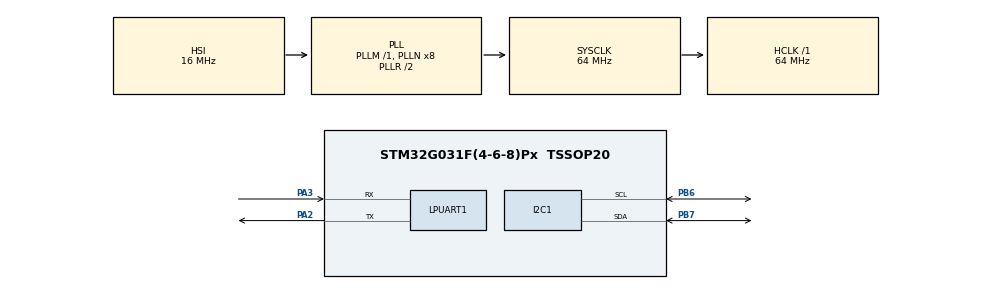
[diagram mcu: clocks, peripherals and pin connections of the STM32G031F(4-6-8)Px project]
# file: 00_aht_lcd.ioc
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Dma.LPUART1_RX.0.Direction=DMA_PERIPH_TO_MEMORY
Dma.LPUART1_RX.0.EventEnable=DISABLE
Dma.LPUART1_RX.0.Instance=DMA1_Channel3
Dma.LPUART1_RX.0.MemDataAlignment=DMA_MDATAALIGN_BYTE
Dma.LPUART1_RX.0.MemInc=DMA_MINC_ENABLE
Dma.LPUART1_RX.0.Mode=DMA_CIRCULAR
Dma.LPUART1_RX.0.PeriphDataAlignment=DMA_PDATAALIGN_BYTE
Dma.LPUART1_RX.0.PeriphInc=DMA_PINC_DISABLE
Dma.LPUART1_RX.0.Polarity=HAL_DMAMUX_REQ_GEN_RISING
Dma.LPUART1_RX.0.Priority=DMA_PRIORITY_LOW
Dma.LPUART1_RX.0.RequestNumber=1
Dma.LPUART1_RX.0.SignalID=NONE
Dma.LPUART1_RX.0.SyncEnable=DISABLE
Dma.LPUART1_RX.0.SyncPolarity=HAL_DMAMUX_SYNC_NO_EVENT
Dma.LPUART1_RX.0.SyncRequestNumber=1
Dma.LPUART1_RX.0.SyncSignalID=NONE
Dma.LPUART1_TX.1.Direction=DMA_MEMORY_TO_PERIPH
Dma.LPUART1_TX.1.EventEnable=DISABLE
Dma.LPUART1_TX.1.Instance=DMA1_Channel4
Dma.LPUART1_TX.1.MemDataAlignment=DMA_MDATAALIGN_BYTE
Dma.LPUART1_TX.1.MemInc=DMA_MINC_ENABLE
Dma.LPUART1_TX.1.Mode=DMA_NORMAL
Dma.LPUART1_TX.1.PeriphDataAlignment=DMA_PDATAALIGN_BYTE
Dma.LPUART1_TX.1.PeriphInc=DMA_PINC_DISABLE
Dma.LPUART1_TX.1.Polarity=HAL_DMAMUX_REQ_GEN_RISING
Dma.LPUART1_TX.1.Priority=DMA_PRIORITY_LOW
Dma.LPUART1_TX.1.RequestNumber=1
Dma.LPUART1_TX.1.SignalID=NONE
Dma.LPUART1_TX.1.SyncEnable=DISABLE
Dma.LPUART1_TX.1.SyncPolarity=HAL_DMAMUX_SYNC_NO_EVENT
Dma.LPUART1_TX.1.SyncRequestNumber=1
Dma.LPUART1_TX.1.SyncSignalID=NONE
Dma.Request0=LPUART1_RX
Dma.Request1=LPUART1_TX
I2C1.Timing=0x10B17DB5
Mcu.Family=STM32G0
Mcu.Name=STM32G031F(4-6-8)Px
Mcu.Package=TSSOP20
NVIC.DMA1_Ch4_5_DMAMUX1_OVR_IRQn=true\:0\:0\:false\:false\:true\:false\:true\:true
NVIC.DMA1_Channel2_3_IRQn=true\:0\:0\:false\:false\:true\:false\:true\:true
NVIC.I2C1_IRQn=true\:0\:0\:false\:false\:true\:true\:true\:true
NVIC.LPUART1_IRQn=true\:0\:0\:false\:false\:true\:true\:true\:true
NVIC.RTC_TAMP_IRQn=true\:0\:0\:false\:false\:true\:true\:true\:true
PA13.Mode=Serial_Wire
PA13.Signal=SYS_SWDIO
PA14-BOOT0.Mode=Serial_Wire
PA14-BOOT0.Signal=SYS_SWCLK
PA14-BOOT0__PA15.StandardMode=true
PA2.Mode=Asynchronous
PA2.Signal=LPUART1_TX
PA3.Mode=Asynchronous
PA3.Signal=LPUART1_RX
PB0__PB1__PB2__PA8.StandardMode=true
PB3__PB4__PB5__PB6.StandardMode=true
PB6.Mode=I2C
PB6.Signal=I2C1_SCL
PB7.Mode=I2C
PB7.Signal=I2C1_SDA
PB7__PB8.StandardMode=true
PC14-OSC32_IN\ (PC14).Mode=LSE-External-Oscillator
PC14-OSC32_IN\ (PC14).Signal=RCC_OSC32_IN
PC14-OSC32_IN\ (PC14)__PB9.StandardMode=true
PC15-OSC32_OUT\ (PC15).Mode=LSE-External-Oscillator
PC15-OSC32_OUT\ (PC15).Signal=RCC_OSC32_OUT
ProjectManager.HeapSize=0x200
ProjectManager.StackSize=0x400
ProjectManager.TargetToolchain=STM32CubeIDE
RCC.ADCFreq_Value=64000000
RCC.AHBFreq_Value=64000000
RCC.CortexFreq_Value=64000000
RCC.EXTERNAL_CLOCK_VALUE=12288000
RCC.HCLKFreq_Value=64000000
RCC.HSE_VALUE=8000000
RCC.HSI_VALUE=16000000
RCC.RTCClockSelection=RCC_RTCCLKSOURCE_LSE
RCC.SYSCLKFreq_VALUE=64000000
RCC.SYSCLKSource=RCC_SYSCLKSOURCE_PLLCLK
RCC.VCOOutputFreq_Value=128000000
RTC.Date=17
RTC.Format=RTC_FORMAT_BIN
VP_RTC_VS_RTC_Activate.Mode=RTC_Enabled
VP_RTC_VS_RTC_Calendar.Mode=RTC_Calendar
VP_RTC_VS_RTC_WakeUp_intern.Mode=WakeUp
VP_SYS_VS_PINREMAP.Mode=PINREMAP
VP_SYS_VS_PINREMAP_10_12.Mode=PINREMAP_10_12
board=custom

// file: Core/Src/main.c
/* USER CODE BEGIN Header */
/**
  ******************************************************************************
  * @file           : main.c
  * @brief          : Main program body
  ******************************************************************************
  * @attention
  *
  * Copyright (c) 2026 STMicroelectronics.
  * All rights reserved.
  *
  * This software is licensed under terms that can be found in the LICENSE file
  * in the root directory of this software component.
  * If no LICENSE file comes with this software, it is provided AS-IS.
  *
  ******************************************************************************
  */
/* USER CODE END Header */
#include "main.h"

/* USER CODE BEGIN Includes */
#include "driver_aht30_interface.h"
#include "driver_ssd1315_interface.h"
#include "power_management.h"

#include "ringbuffer.h"
#include <string.h>
#include <stdio.h>
#include <stdlib.h>
/* USER CODE END Includes */

/* USER CODE BEGIN PM */
char readBuf[1];
uint8_t txData;
__IO ITStatus UartReady = SET;
RingBuffer txBuf, rxBuf;
/* USER CODE END PM */

I2C_HandleTypeDef hi2c1;

UART_HandleTypeDef hlpuart1;
DMA_HandleTypeDef hdma_lpuart1_rx;
DMA_HandleTypeDef hdma_lpuart1_tx;

RTC_HandleTypeDef hrtc;

/* USER CODE BEGIN PV */
static aht30_handle_t gs_handle;
static ssd1315_handle_t gs_lcd_handle;

/* Power mode selection - change this to adjust power consumption */
#define SELECTED_POWER_MODE  POWER_MODE_LOW_POWER

/* USER CODE END PV */

void SystemClock_Config(void);
static void MX_GPIO_Init(void);
static void MX_DMA_Init(void);
static void MX_RTC_Init(void);
static void MX_I2C1_Init(void);
static void MX_LPUART1_UART_Init(void);
/* USER CODE BEGIN PFP */
uint8_t UART_Transmit(UART_HandleTypeDef *lpuart, uint8_t *pData, uint16_t len);
void SystemClock_Config_AfterStop(void);
/* USER CODE END PFP */

int main(void)
{

  /* USER CODE BEGIN 1 */
    uint8_t res;
    uint32_t temperature_raw;
    uint32_t humidity_raw;
    float temperature;
    uint8_t humidity;
    aht30_info_t info;

    uint8_t lcd_res;
    ssd1315_info_t lcd_info;
  /* USER CODE END 1 */

  /* MCU Configuration--------------------------------------------------------*/

  /* Reset of all peripherals, Initializes the Flash interface and the Systick. */
  HAL_Init();

  /* Configure the system clock */
  SystemClock_Config();

  /* Initialize all configured peripherals */
  MX_GPIO_Init();
  MX_DMA_Init();
  MX_RTC_Init();
  MX_I2C1_Init();
  MX_LPUART1_UART_Init();
  /* USER CODE BEGIN 2 */
  /* Initialize power management */
  Power_Init(&hrtc);
  Power_SetMode(SELECTED_POWER_MODE);
  /* USER CODE END 2 */

  /* Infinite loop */
  /* USER CODE BEGIN WHILE */
  DRIVER_AHT30_LINK_INIT(&gs_handle, aht30_handle_t);
  DRIVER_AHT30_LINK_IIC_INIT(&gs_handle, aht30_interface_iic_init);
  DRIVER_AHT30_LINK_IIC_DEINIT(&gs_handle, aht30_interface_iic_deinit);
  DRIVER_AHT30_LINK_IIC_READ_CMD(&gs_handle, aht30_interface_iic_read_cmd);
  DRIVER_AHT30_LINK_IIC_WRITE_CMD(&gs_handle, aht30_interface_iic_write_cmd);
  DRIVER_AHT30_LINK_DELAY_MS(&gs_handle, aht30_interface_delay_ms);
  DRIVER_AHT30_LINK_DEBUG_PRINT(&gs_handle, aht30_interface_debug_print);

  /* get aht30 information */
  res = aht30_info(&info);
  if (res != 0)
  {
      aht30_interface_debug_print("aht30: get info failed.\n");

      return 1;
  }
  else
  {
      /* print aht30 information */
      aht30_interface_debug_print("aht30: chip is %s.\n", info.chip_name);
      aht30_interface_debug_print("aht30: manufacturer is %s.\n", info.manufacturer_name);
      aht30_interface_debug_print("aht30: interface is %s.\n", info.interface);
      aht30_interface_debug_print("aht30: driver version is %d.%d.\n", info.driver_version / 1000, (info.driver_version % 1000) / 100);
      aht30_interface_debug_print("aht30: min supply voltage is %0.1fV.\n", info.supply_voltage_min_v);
      aht30_interface_debug_print("aht30: max supply voltage is %0.1fV.\n", info.supply_voltage_max_v);
      aht30_interface_debug_print("aht30: max current is %0.2fmA.\n", info.max_current_ma);
      aht30_interface_debug_print("aht30: max temperature is %0.1fC.\n", info.temperature_max);
      aht30_interface_debug_print("aht30: min temperature is %0.1fC.\n", info.temperature_min);
  }

  /* start basic read test */
  aht30_interface_debug_print("aht30: start read test.\n");

  /* aht30 init */
  res = aht30_init(&gs_handle);
  if (res != 0)
  {
      aht30_interface_debug_print("aht30: init failed.\n");

      return 1;
  }

  /* delay 2000 ms for read */
  aht30_interface_delay_ms(2000);

  // LCD
  DRIVER_SSD1315_LINK_INIT(&gs_lcd_handle, ssd1315_handle_t);
  DRIVER_SSD1315_LINK_IIC_INIT(&gs_lcd_handle, ssd1315_interface_iic_init);
  DRIVER_SSD1315_LINK_IIC_DEINIT(&gs_lcd_handle, ssd1315_interface_iic_deinit);
  DRIVER_SSD1315_LINK_IIC_WRITE(&gs_lcd_handle, ssd1315_interface_iic_write);

  DRIVER_SSD1315_LINK_SPI_INIT(&gs_lcd_handle, ssd1315_interface_spi_init);
  DRIVER_SSD1315_LINK_SPI_DEINIT(&gs_lcd_handle, ssd1315_interface_spi_deinit);
  DRIVER_SSD1315_LINK_SPI_WRITE_COMMAND(&gs_lcd_handle, ssd1315_interface_spi_write_cmd);
  DRIVER_SSD1315_LINK_SPI_COMMAND_DATA_GPIO_INIT(&gs_lcd_handle, ssd1315_interface_spi_cmd_data_gpio_init);
  DRIVER_SSD1315_LINK_SPI_COMMAND_DATA_GPIO_DEINIT(&gs_lcd_handle, ssd1315_interface_spi_cmd_data_gpio_deinit);
  DRIVER_SSD1315_LINK_SPI_COMMAND_DATA_GPIO_WRITE(&gs_lcd_handle, ssd1315_interface_spi_cmd_data_gpio_write);

  DRIVER_SSD1315_LINK_RESET_GPIO_INIT(&gs_lcd_handle, ssd1315_interface_reset_gpio_init);
  DRIVER_SSD1315_LINK_RESET_GPIO_DEINIT(&gs_lcd_handle, ssd1315_interface_reset_gpio_deinit);
  DRIVER_SSD1315_LINK_RESET_GPIO_WRITE(&gs_lcd_handle, ssd1315_interface_reset_gpio_write);
  DRIVER_SSD1315_LINK_DELAY_MS(&gs_lcd_handle, ssd1315_interface_delay_ms);
  DRIVER_SSD1315_LINK_DEBUG_PRINT(&gs_lcd_handle, ssd1315_interface_debug_print);

  // Set I2C mode and address (0x78 for SA0=GND, 0x7A for SA0=VCC)
  ssd1315_set_interface(&gs_lcd_handle, SSD1315_INTERFACE_IIC);
  ssd1315_set_addr_pin(&gs_lcd_handle, SSD1315_ADDR_SA0_0);
  /* ssd1315 info */
  lcd_res = ssd1315_info(&lcd_info);
  if (lcd_res != 0)
  {
      ssd1315_interface_debug_print("ssd1315: get info failed.\n");

      return 1;
  }

  /* ssd1315 init */
  lcd_res = ssd1315_init(&gs_lcd_handle);
  if (lcd_res != 0)
  {
      ssd1315_interface_debug_print("ssd1315: init failed.\n");

      return 1;
  }

  /* close display */
  lcd_res = ssd1315_set_display(&gs_lcd_handle, SSD1315_DISPLAY_OFF);
  if (lcd_res != 0)
  {
      ssd1315_interface_debug_print("ssd1315: set display failed.\n");
      (void)ssd1315_deinit(&gs_lcd_handle);

      return 1;
  }

  /* set column address range */
  lcd_res = ssd1315_set_column_address_range(&gs_lcd_handle, 0x00, 0x7F);
  if (lcd_res != 0)
  {
      ssd1315_interface_debug_print("ssd1315: set column address range failed.\n");
      (void)ssd1315_deinit(&gs_lcd_handle);

      return 1;
  }

  /* set page address range */
  lcd_res = ssd1315_set_page_address_range(&gs_lcd_handle, 0x00, 0x07);
  if (lcd_res != 0)
  {
      ssd1315_interface_debug_print("ssd1315: set page address range failed.\n");
      (void)ssd1315_deinit(&gs_lcd_handle);

      return 1;
  }

  /* set low column start address */
  lcd_res = ssd1315_set_low_column_start_address(&gs_lcd_handle, 0x00);
  if (lcd_res != 0)
  {
      ssd1315_interface_debug_print("ssd1315: set low column start address failed.\n");
      (void)ssd1315_deinit(&gs_lcd_handle);

      return 1;
  }

  /* set high column start address */
  lcd_res = ssd1315_set_high_column_start_address(&gs_lcd_handle, 0x00);
  if (lcd_res != 0)
  {
      ssd1315_interface_debug_print("ssd1315: set high column start address failed.\n");
      (void)ssd1315_deinit(&gs_lcd_handle);

      return 1;
  }

  /* set display start line */
  lcd_res = ssd1315_set_display_start_line(&gs_lcd_handle, 0x00);
  if (lcd_res != 0)
  {
      ssd1315_interface_debug_print("ssd1315: set display start line failed.\n");
      (void)ssd1315_deinit(&gs_lcd_handle);

      return 1;
  }

  /* set fade blinking mode */
  lcd_res = ssd1315_set_fade_blinking_mode(&gs_lcd_handle, SSD1315_FADE_BLINKING_MODE_DISABLE, 0x00);
  if (lcd_res != 0)
  {
      ssd1315_interface_debug_print("ssd1315: set fade blinking failed.\n");
      (void)ssd1315_deinit(&gs_lcd_handle);

      return 1;
  }

  /* deactivate scroll */
  lcd_res = ssd1315_deactivate_scroll(&gs_lcd_handle);
  if (lcd_res != 0)
  {
      ssd1315_interface_debug_print("ssd1315: set deactivate scroll failed.\n");
      (void)ssd1315_deinit(&gs_lcd_handle);

      return 1;
  }

  /* set zoom in */
  lcd_res = ssd1315_set_zoom_in(&gs_lcd_handle, SSD1315_ZOOM_IN_DISABLE);
  if (lcd_res != 0)
  {
      ssd1315_interface_debug_print("ssd1315: set set zoom in failed.\n");
      (void)ssd1315_deinit(&gs_lcd_handle);

      return 1;
  }

  /* set contrast based on power mode */
  lcd_res = ssd1315_set_contrast(&gs_lcd_handle, Power_GetLCDContrast());
  if (lcd_res != 0)
  {
      ssd1315_interface_debug_print("ssd1315: set contrast failed.\n");
      (void)ssd1315_deinit(&gs_lcd_handle);

      return 1;
  }

  /* set segment remap */
  lcd_res = ssd1315_set_segment_remap(&gs_lcd_handle, SSD1315_SEGMENT_COLUMN_ADDRESS_127);
  if (lcd_res != 0)
  {
      ssd1315_interface_debug_print("ssd1315: set segment remap failed.\n");
      (void)ssd1315_deinit(&gs_lcd_handle);

      return 1;
  }

  /* set scan direction */
  lcd_res = ssd1315_set_scan_direction(&gs_lcd_handle, SSD1315_SCAN_DIRECTION_COMN_1_START);
  if (lcd_res != 0)
  {
      ssd1315_interface_debug_print("ssd1315: set scan direction failed.\n");
      (void)ssd1315_deinit(&gs_lcd_handle);

      return 1;
  }

  /* set display mode */
  lcd_res = ssd1315_set_display_mode(&gs_lcd_handle, SSD1315_DISPLAY_MODE_NORMAL);
  if (lcd_res != 0)
  {
      ssd1315_interface_debug_print("ssd1315: set display mode failed.\n");
      (void)ssd1315_deinit(&gs_lcd_handle);

      return 1;
  }

  /* set multiplex ratio */
  lcd_res = ssd1315_set_multiplex_ratio(&gs_lcd_handle, 0x3F);
  if (lcd_res != 0)
  {
      ssd1315_interface_debug_print("ssd1315: set multiplex ratio failed.\n");
      (void)ssd1315_deinit(&gs_lcd_handle);

      return 1;
  }

  /* set display offset */
  lcd_res = ssd1315_set_display_offset(&gs_lcd_handle, 0x00);
  if (lcd_res != 0)
  {
      ssd1315_interface_debug_print("ssd1315: set display offset failed.\n");
      (void)ssd1315_deinit(&gs_lcd_handle);

      return 1;
  }

  /* set display clock */
  lcd_res = ssd1315_set_display_clock(&gs_lcd_handle, 0x08, 0x00);
  if (lcd_res != 0)
  {
      ssd1315_interface_debug_print("ssd1315: set display clock failed.\n");
      (void)ssd1315_deinit(&gs_lcd_handle);

      return 1;
  }

  /* set pre charge period */
  lcd_res = ssd1315_set_precharge_period(&gs_lcd_handle, 0x01, 0x0F);
  if (lcd_res != 0)
  {
      ssd1315_interface_debug_print("ssd1315: set pre charge period failed.\n");
      (void)ssd1315_deinit(&gs_lcd_handle);

      return 1;
  }

  /* set iref */
  lcd_res = ssd1315_set_iref(&gs_lcd_handle, SSD1315_IREF_ENABLE, SSD1315_IREF_VALUE_19UA_150UA);
  if (lcd_res != 0)
  {
      ssd1315_interface_debug_print("ssd1315: set iref failed.\n");
      (void)ssd1315_deinit(&gs_lcd_handle);

      return 1;
  }

  /* set hardware pins conf */
  lcd_res = ssd1315_set_com_pins_hardware_conf(&gs_lcd_handle, SSD1315_PIN_CONF_ALTERNATIVE, SSD1315_LEFT_RIGHT_REMAP_DISABLE);
  if (lcd_res != 0)
  {
      ssd1315_interface_debug_print("ssd1315: set com pins hardware conf failed.\n");
      (void)ssd1315_deinit(&gs_lcd_handle);

      return 1;
  }

  /* set deselect level 0.77 */
  lcd_res = ssd1315_set_deselect_level(&gs_lcd_handle, SSD1315_DESELECT_LEVEL_0P77);
  if (lcd_res != 0)
  {
      ssd1315_interface_debug_print("ssd1315: set deselect level failed.\n");
      (void)ssd1315_deinit(&gs_lcd_handle);

      return 1;
  }

  /* set page memory addressing mode */
  lcd_res = ssd1315_set_memory_addressing_mode(&gs_lcd_handle, SSD1315_MEMORY_ADDRESSING_MODE_PAGE);
  if (lcd_res != 0)
  {
      ssd1315_interface_debug_print("ssd1315: set memory addressing level failed.\n");
      (void)ssd1315_deinit(&gs_lcd_handle);

      return 1;
  }

  /* enable charge pump */
  lcd_res = ssd1315_set_charge_pump(&gs_lcd_handle, SSD1315_CHARGE_PUMP_ENABLE, SSD1315_CHARGE_PUMP_MODE_7P5V);
  if (lcd_res != 0)
  {
      ssd1315_interface_debug_print("ssd1315: set charge pump failed.\n");
      (void)ssd1315_deinit(&gs_lcd_handle);

      return 1;
  }

  /* entire display off */
  lcd_res = ssd1315_set_entire_display(&gs_lcd_handle, SSD1315_ENTIRE_DISPLAY_OFF);
  if (lcd_res != 0)
  {
      ssd1315_interface_debug_print("ssd1315: set entire display failed.\n");
      (void)ssd1315_deinit(&gs_lcd_handle);

      return 1;
  }

  /* enable display */
  lcd_res = ssd1315_set_display(&gs_lcd_handle, SSD1315_DISPLAY_ON);
  if (lcd_res != 0)
  {
      ssd1315_interface_debug_print("ssd1315: set display failed.\n");
      (void)ssd1315_deinit(&gs_lcd_handle);

      return 1;
  }

  /* clear screen */
  lcd_res = ssd1315_clear(&gs_lcd_handle);
  if (lcd_res != 0)
  {
      ssd1315_interface_debug_print("ssd1315: clear failed.\n");
      (void)ssd1315_deinit(&gs_lcd_handle);

      return 1;
  }

  char temp_str[20];
  char hum_str[20];
  uint32_t sleep_duration;

  while (1)
  {
      /* Get sleep duration based on power mode */
      sleep_duration = Power_GetUpdateInterval();

      /* Enable peripherals for reading (if disabled in ultra-low mode) */
      Power_EnablePeripheralsForReading();

      /* In ultra-low power mode, turn on LCD before update */
      if (Power_ShouldTurnOffLCD())
      {
          ssd1315_set_display(&gs_lcd_handle, SSD1315_DISPLAY_ON);
      }

      /* read temperature and humidity */
      res = aht30_read_temperature_humidity(&gs_handle, (uint32_t *)&temperature_raw, (float *)&temperature, (uint32_t *)&humidity_raw, (uint8_t *)&humidity);
      if (res != 0)
      {
          aht30_interface_debug_print("aht30: read failed.\n");
          (void)aht30_deinit(&gs_handle);

          return 1;
      }

      /* clear display */
      ssd1315_clear(&gs_lcd_handle);

      /* format temperature string */
      snprintf(temp_str, sizeof(temp_str), "Temp: %.1f C", temperature);
      lcd_res =  ssd1315_gram_write_string(&gs_lcd_handle, 0, 0, temp_str, (uint16_t)strlen(temp_str), 1, SSD1315_FONT_12);
      if (lcd_res != 0)
      {
          ssd1315_interface_debug_print("ssd1315: gram write string failed.\n");
          (void)ssd1315_deinit(&gs_lcd_handle);

          return 1;
      }

      /* format humidity string */
      snprintf(hum_str, sizeof(hum_str), "Hum: %d %%", humidity);
      lcd_res =  ssd1315_gram_write_string(&gs_lcd_handle, 0, 16, hum_str, (uint16_t)strlen(hum_str), 1, SSD1315_FONT_12);
      if (lcd_res != 0)
      {
          ssd1315_interface_debug_print("ssd1315: gram write string failed.\n");
          (void)ssd1315_deinit(&gs_lcd_handle);

          return 1;
      }

      /* update display */
      lcd_res = ssd1315_gram_update(&gs_lcd_handle);
      if (lcd_res != 0)
      {
          ssd1315_interface_debug_print("ssd1315: gram update failed.\n");
          (void)ssd1315_deinit(&gs_lcd_handle);

          return 1;
      }

      /* In ultra-low power mode, turn off LCD after update to save power */
      if (Power_ShouldTurnOffLCD())
      {
          /* Keep display on for 2 seconds so user can read it */
          HAL_Delay(2000);
          ssd1315_set_display(&gs_lcd_handle, SSD1315_DISPLAY_OFF);
          sleep_duration -= 2000; /* Adjust sleep time */
      }

      /* Disable peripherals after reading to save power */
      Power_DisablePeripheralsAfterReading();

      /* Enter low power sleep mode instead of busy-wait delay */
      if (Power_GetMode() == POWER_MODE_NORMAL)
      {
          /* Normal mode: use regular delay */
          HAL_Delay(sleep_duration);
      }
      else
      {
          /* Low power modes: use Stop mode with RTC wakeup */
          Power_EnterStopMode(sleep_duration);
      }
    /* USER CODE END WHILE */

  }
}

void SystemClock_Config(void)
{
  RCC_OscInitTypeDef RCC_OscInitStruct = {0};
  RCC_ClkInitTypeDef RCC_ClkInitStruct = {0};

  /** Configure the main internal regulator output voltage
  */
  HAL_PWREx_ControlVoltageScaling(PWR_REGULATOR_VOLTAGE_SCALE1);

  /** Configure LSE Drive Capability
  */
  HAL_PWR_EnableBkUpAccess();
  __HAL_RCC_LSEDRIVE_CONFIG(RCC_LSEDRIVE_LOW);

  /** Initializes the RCC Oscillators according to the specified parameters
  * in the RCC_OscInitTypeDef structure.
  */
  RCC_OscInitStruct.OscillatorType = RCC_OSCILLATORTYPE_HSI|RCC_OSCILLATORTYPE_LSE;
  RCC_OscInitStruct.LSEState = RCC_LSE_ON;
  RCC_OscInitStruct.HSIState = RCC_HSI_ON;
  RCC_OscInitStruct.HSIDiv = RCC_HSI_DIV1;
  RCC_OscInitStruct.HSICalibrationValue = RCC_HSICALIBRATION_DEFAULT;
  RCC_OscInitStruct.PLL.PLLState = RCC_PLL_ON;
  RCC_OscInitStruct.PLL.PLLSource = RCC_PLLSOURCE_HSI;
  RCC_OscInitStruct.PLL.PLLM = RCC_PLLM_DIV1;
  RCC_OscInitStruct.PLL.PLLN = 8;
  RCC_OscInitStruct.PLL.PLLP = RCC_PLLP_DIV2;
  RCC_OscInitStruct.PLL.PLLQ = RCC_PLLQ_DIV2;
  RCC_OscInitStruct.PLL.PLLR = RCC_PLLR_DIV2;
  if (HAL_RCC_OscConfig(&RCC_OscInitStruct) != HAL_OK)
  {
    Error_Handler();
  }

  /** Initializes the CPU, AHB and APB buses clocks
  */
  RCC_ClkInitStruct.ClockType = RCC_CLOCKTYPE_HCLK|RCC_CLOCKTYPE_SYSCLK
                              |RCC_CLOCKTYPE_PCLK1;
  RCC_ClkInitStruct.SYSCLKSource = RCC_SYSCLKSOURCE_PLLCLK;
  RCC_ClkInitStruct.AHBCLKDivider = RCC_SYSCLK_DIV1;
  RCC_ClkInitStruct.APB1CLKDivider = RCC_HCLK_DIV1;

  if (HAL_RCC_ClockConfig(&RCC_ClkInitStruct, FLASH_LATENCY_2) != HAL_OK)
  {
    Error_Handler();
  }
}

static void MX_I2C1_Init(void)
{

  hi2c1.Instance = I2C1;
  hi2c1.Init.Timing = 0x10B17DB5;
  hi2c1.Init.OwnAddress1 = 0;
  hi2c1.Init.AddressingMode = I2C_ADDRESSINGMODE_7BIT;
  hi2c1.Init.DualAddressMode = I2C_DUALADDRESS_DISABLE;
  hi2c1.Init.OwnAddress2 = 0;
  hi2c1.Init.OwnAddress2Masks = I2C_OA2_NOMASK;
  hi2c1.Init.GeneralCallMode = I2C_GENERALCALL_DISABLE;
  hi2c1.Init.NoStretchMode = I2C_NOSTRETCH_DISABLE;
  if (HAL_I2C_Init(&hi2c1) != HAL_OK)
  {
    Error_Handler();
  }

  /** Configure Analogue filter
  */
  if (HAL_I2CEx_ConfigAnalogFilter(&hi2c1, I2C_ANALOGFILTER_ENABLE) != HAL_OK)
  {
    Error_Handler();
  }

  /** Configure Digital filter
  */
  if (HAL_I2CEx_ConfigDigitalFilter(&hi2c1, 0) != HAL_OK)
  {
    Error_Handler();
  }
  /* USER CODE BEGIN I2C1_Init 2 */
  HAL_NVIC_SetPriority(I2C1_IRQn, 1, 0);
  HAL_NVIC_EnableIRQ(I2C1_IRQn);
  /* USER CODE END I2C1_Init 2 */

}

static void MX_LPUART1_UART_Init(void)
{

  hlpuart1.Instance = LPUART1;
  hlpuart1.Init.BaudRate = 209700;
  hlpuart1.Init.WordLength = UART_WORDLENGTH_7B;
  hlpuart1.Init.StopBits = UART_STOPBITS_1;
  hlpuart1.Init.Parity = UART_PARITY_NONE;
  hlpuart1.Init.Mode = UART_MODE_TX_RX;
  hlpuart1.Init.HwFlowCtl = UART_HWCONTROL_NONE;
  hlpuart1.Init.OneBitSampling = UART_ONE_BIT_SAMPLE_DISABLE;
  hlpuart1.Init.ClockPrescaler = UART_PRESCALER_DIV1;
  hlpuart1.AdvancedInit.AdvFeatureInit = UART_ADVFEATURE_NO_INIT;
  hlpuart1.FifoMode = UART_FIFOMODE_DISABLE;
  if (HAL_UART_Init(&hlpuart1) != HAL_OK)
  {
    Error_Handler();
  }
  if (HAL_UARTEx_SetTxFifoThreshold(&hlpuart1, UART_TXFIFO_THRESHOLD_1_8) != HAL_OK)
  {
    Error_Handler();
  }
  if (HAL_UARTEx_SetRxFifoThreshold(&hlpuart1, UART_RXFIFO_THRESHOLD_1_8) != HAL_OK)
  {
    Error_Handler();
  }
  if (HAL_UARTEx_DisableFifoMode(&hlpuart1) != HAL_OK)
  {
    Error_Handler();
  }

}

static void MX_RTC_Init(void)
{

  RTC_TimeTypeDef sTime = {0};
  RTC_DateTypeDef sDate = {0};

  /** Initialize RTC Only
  */
  hrtc.Instance = RTC;
  hrtc.Init.HourFormat = RTC_HOURFORMAT_24;
  hrtc.Init.AsynchPrediv = 127;
  hrtc.Init.SynchPrediv = 255;
  hrtc.Init.OutPut = RTC_OUTPUT_DISABLE;
  hrtc.Init.OutPutRemap = RTC_OUTPUT_REMAP_NONE;
  hrtc.Init.OutPutPolarity = RTC_OUTPUT_POLARITY_HIGH;
  hrtc.Init.OutPutType = RTC_OUTPUT_TYPE_OPENDRAIN;
  hrtc.Init.OutPutPullUp = RTC_OUTPUT_PULLUP_NONE;
  if (HAL_RTC_Init(&hrtc) != HAL_OK)
  {
    Error_Handler();
  }

  /** Initialize RTC and set the Time and Date
  */
  sTime.Hours = 0;
  sTime.Minutes = 0;
  sTime.Seconds = 0;
  sTime.SubSeconds = 0;
  sTime.DayLightSaving = RTC_DAYLIGHTSAVING_NONE;
  sTime.StoreOperation = RTC_STOREOPERATION_RESET;
  if (HAL_RTC_SetTime(&hrtc, &sTime, RTC_FORMAT_BIN) != HAL_OK)
  {
    Error_Handler();
  }
  sDate.WeekDay = RTC_WEEKDAY_MONDAY;
  sDate.Month = RTC_MONTH_JANUARY;
  sDate.Date = 17;
  sDate.Year = 0;

  if (HAL_RTC_SetDate(&hrtc, &sDate, RTC_FORMAT_BIN) != HAL_OK)
  {
    Error_Handler();
  }

  /** Enable the WakeUp
  */
  if (HAL_RTCEx_SetWakeUpTimer_IT(&hrtc, 0, RTC_WAKEUPCLOCK_RTCCLK_DIV16) != HAL_OK)
  {
    Error_Handler();
  }
  /* USER CODE BEGIN RTC_Init 2 */
  /* Disable the wakeup timer set by CubeMX - power management will control it */
  HAL_RTCEx_DeactivateWakeUpTimer(&hrtc);
  /* USER CODE END RTC_Init 2 */

}

static void MX_DMA_Init(void)
{

  /* DMA controller clock enable */
  __HAL_RCC_DMA1_CLK_ENABLE();

  /* DMA interrupt init */
  /* DMA1_Channel2_3_IRQn interrupt configuration */
  HAL_NVIC_SetPriority(DMA1_Channel2_3_IRQn, 0, 0);
  HAL_NVIC_EnableIRQ(DMA1_Channel2_3_IRQn);
  /* DMA1_Ch4_5_DMAMUX1_OVR_IRQn interrupt configuration */
  HAL_NVIC_SetPriority(DMA1_Ch4_5_DMAMUX1_OVR_IRQn, 0, 0);
  HAL_NVIC_EnableIRQ(DMA1_Ch4_5_DMAMUX1_OVR_IRQn);

}

static void MX_GPIO_Init(void)
{

  /* GPIO Ports Clock Enable */
  __HAL_RCC_GPIOB_CLK_ENABLE();
  __HAL_RCC_GPIOC_CLK_ENABLE();
  __HAL_RCC_GPIOA_CLK_ENABLE();

}

/* USER CODE BEGIN 4 */
/**
  * @brief Restore system clock after Stop mode
  * @note  Called by power_management.c after waking from Stop mode
  */
void SystemClock_Config_AfterStop(void)
{
    RCC_OscInitTypeDef RCC_OscInitStruct = {0};
    RCC_ClkInitTypeDef RCC_ClkInitStruct = {0};

    /* Configure the main internal regulator output voltage */
    HAL_PWREx_ControlVoltageScaling(PWR_REGULATOR_VOLTAGE_SCALE1);

    /* Re-enable HSI and PLL after Stop mode */
    RCC_OscInitStruct.OscillatorType = RCC_OSCILLATORTYPE_HSI;
    RCC_OscInitStruct.HSIState = RCC_HSI_ON;
    RCC_OscInitStruct.HSIDiv = RCC_HSI_DIV1;
    RCC_OscInitStruct.HSICalibrationValue = RCC_HSICALIBRATION_DEFAULT;
    RCC_OscInitStruct.PLL.PLLState = RCC_PLL_ON;
    RCC_OscInitStruct.PLL.PLLSource = RCC_PLLSOURCE_HSI;
    RCC_OscInitStruct.PLL.PLLM = RCC_PLLM_DIV1;
    RCC_OscInitStruct.PLL.PLLN = 8;
    RCC_OscInitStruct.PLL.PLLP = RCC_PLLP_DIV2;
    RCC_OscInitStruct.PLL.PLLQ = RCC_PLLQ_DIV2;
    RCC_OscInitStruct.PLL.PLLR = RCC_PLLR_DIV2;

    if (HAL_RCC_OscConfig(&RCC_OscInitStruct) != HAL_OK)
    {
        Error_Handler();
    }

    /* Select PLL as system clock source */
    RCC_ClkInitStruct.ClockType = RCC_CLOCKTYPE_HCLK | RCC_CLOCKTYPE_SYSCLK | RCC_CLOCKTYPE_PCLK1;
    RCC_ClkInitStruct.SYSCLKSource = RCC_SYSCLKSOURCE_PLLCLK;
    RCC_ClkInitStruct.AHBCLKDivider = RCC_SYSCLK_DIV1;
    RCC_ClkInitStruct.APB1CLKDivider = RCC_HCLK_DIV1;

    if (HAL_RCC_ClockConfig(&RCC_ClkInitStruct, FLASH_LATENCY_2) != HAL_OK)
    {
        Error_Handler();
    }
}

uint8_t UART_Transmit(UART_HandleTypeDef *lpuart, uint8_t *pData, uint16_t len)
{
  if(HAL_UART_Transmit_IT(lpuart, pData, len) != HAL_OK)
  {
    if(RingBuffer_Write(&txBuf, pData, len) != RING_BUFFER_OK)
      return 0;
  }
  return 1;
}

void HAL_UART_RxCpltCallback(UART_HandleTypeDef *UartHandle)
{
 /* Set transmission flag: transfer complete*/
 UartReady = SET;
}

void HAL_UART_TxCpltCallback(UART_HandleTypeDef *huart)
{
  if(RingBuffer_GetDataLength(&txBuf) > 0)
  {
    RingBuffer_Read(&txBuf, &txData, 1);
    HAL_UART_Transmit_IT(huart, &txData, 1);
  }
}
/* USER CODE END 4 */

void Error_Handler(void)
{
  __disable_irq();
  while (1)
  {
  }
}
